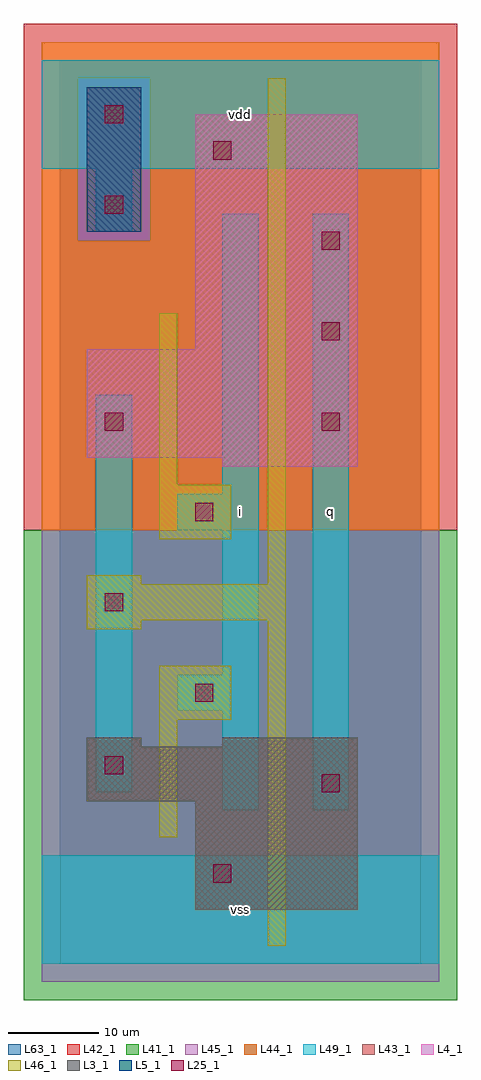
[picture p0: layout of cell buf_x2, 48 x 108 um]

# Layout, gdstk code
import gdstk
lib = gdstk.Library(unit=1e-6, precision=1e-09)
def R(c, l, rs):  # rectangles x0, y0, x1, y1
    for r in rs: c.add(gdstk.rectangle(r[:2], r[2:], *l))
def A(c, l, x, y, w, h, nx, ny, dx, dy):  # array of equal rectangles
    R(c, l, [(x+i*dx, y+j*dy, x+i*dx+w, y+j*dy+h) for i in range(nx) for j in range(ny)])
L3_1 = (3, 1)
L4_1 = (4, 1)
L5_1 = (5, 1)
L25_1 = (25, 1)
L41_1 = (41, 1)
L42_1 = (42, 1)
L43_1 = (43, 1)
L44_1 = (44, 1)
L45_1 = (45, 1)
L46_1 = (46, 1)
L49_1 = (49, 1)
L63_1 = (63, 1)

buf_x2 = lib.new_cell('buf_x2')
R(buf_x2, L3_1, [(15,6,33,18), (3,18,33,24), (3,24,9,25), (18,24,33,25)])
R(buf_x2, L4_1, [(18,55,33,56), (3,56,33,68), (15,68,33,94)])
R(buf_x2, L5_1, [(3,81,9,97)])
A(buf_x2, L25_1, 29, 59, 2, 2, 1, 3, 0, 10)
R(buf_x2, L25_1, [(17,9,19,11), (29,19,31,21), (5,21,7,23), (15,29,17,31), (5,39,7,41), (15,49,17,51), (5,59,7,61), (5,83,7,85), (17,89,19,91), (5,93,7,95)])
R(buf_x2, L41_1, [(-4,-4,44,48)])
R(buf_x2, L42_1, [(-4,48,44,104)])
R(buf_x2, L43_1, [(15,6,33,18), (3,18,33,24), (3,24,9,25), (18,24,33,25), (18,55,33,56), (3,56,33,68), (15,68,33,94), (3,81,9,97)])
R(buf_x2, L44_1, [(-2,48,42,80), (-2,80,2,98), (10,80,42,98), (-2,98,42,102)])
R(buf_x2, L45_1, [(-2,-2,42,48), (2,80,10,98)])
R(buf_x2, L46_1, [(23,2,25,38), (11,14,13,27), (11,27,19,33), (3,37,9,38), (3,38,25,42), (3,42,9,43), (23,42,25,98), (11,47,19,53), (11,53,13,72)])
R(buf_x2, L49_1, [(-2,0,42,12), (18,17,22,28), (28,17,32,83), (4,19,8,63), (13,28,22,32), (18,32,22,48), (13,48,22,52), (18,52,22,83), (4,81,8,88), (-2,88,42,100)])
R(buf_x2, L63_1, [(0,0,40,100)])
buf_x2.add(gdstk.Label('vss', (20,6), layer=49, texttype=1))
buf_x2.add(gdstk.Label('i', (20,50), layer=49, texttype=1))
buf_x2.add(gdstk.Label('vdd', (20,94), layer=49, texttype=1))
buf_x2.add(gdstk.Label('q', (30,50), layer=49, texttype=1))

lib.write_gds('buf_x2.gds')
